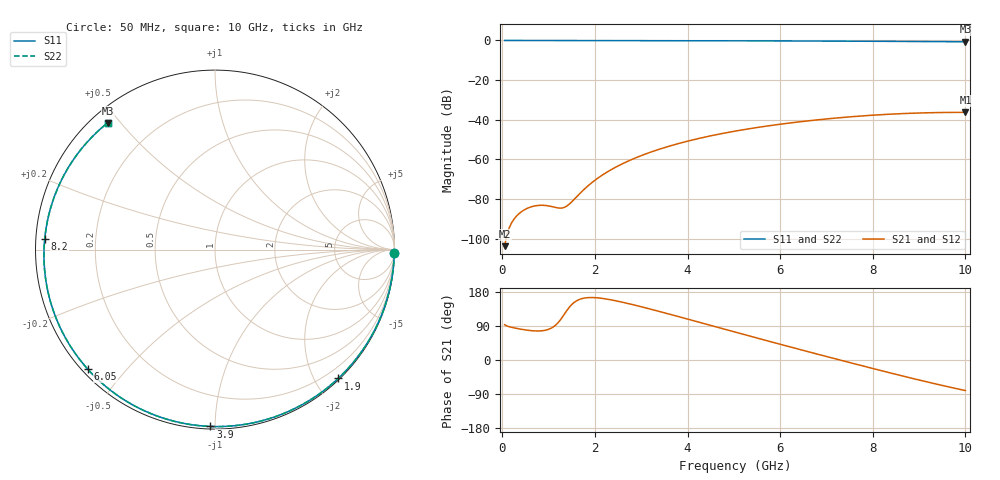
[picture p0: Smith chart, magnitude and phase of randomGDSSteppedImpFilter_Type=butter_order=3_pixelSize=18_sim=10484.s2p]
! freq	dB(S11)	phase(S11)	dB(S12)	phase(S12)
!  dB(S21)	phase(S21)	dB(S22)	phase(S22)
!S-par simulation data
#  GHz  S  DB  R 50
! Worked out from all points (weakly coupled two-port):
!   200 points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, 50 MHz to 10 GHz, reference 50 ohm
!   highest |S21| = -36.28 dB at 10 GHz (marker M1); lowest = -103.8 dB at 50 MHz (marker M2)
!   lowest |S11| = -0.7 dB at 10 GHz (marker M3), VSWR 25.84, Z = 2.35 + j23.1 ohm
!   |S11| at or under -10 dB: nowhere
!   |S22| runs from -0.7 to 0.0 dB; largest |S21 - S12| = 0
!   S11 on the Smith chart (normalised r, x): 50 MHz: 2, -95; 1.9 GHz: 0.02, -2.34; 3.9 GHz: 0.01, -0.97; 6.05 GHz: 0.02, -0.40; 8.2 GHz: 0.03, +0.03; 10 GHz: 0.05, +0.46
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0.05  -0.00 -1.2  -103.82 93.1  -103.82 93.1  -0.00 -1.2
0.8  -0.03 -19.8  -83.21 76.7  -83.21 76.7  -0.03 -19.8
1.55  -0.05 -38.0  -80.24 151.7  -80.24 151.7  -0.05 -38.0
1.75  -0.05 -42.7  -75.50 162.9  -75.50 162.9  -0.05 -42.7
1.9  -0.06 -46.3  -72.40 164.8  -72.40 164.8  -0.06 -46.3
2.2  -0.07 -53.3  -67.33 161.8  -67.33 161.8  -0.07 -53.3
2.55  -0.08 -61.4  -62.74 153.7  -62.74 153.7  -0.08 -61.4
2.95  -0.09 -70.5  -58.59 142.1  -58.59 142.1  -0.09 -70.5
3.4  -0.11 -80.6  -54.83 127.8  -54.83 127.8  -0.11 -80.6
3.9  -0.12 -91.5  -51.44 111.4  -51.44 111.4  -0.12 -91.5
4.45  -0.15 -103.3  -48.39 93.0  -48.39 93.0  -0.15 -103.3
5.05  -0.18 -115.9  -45.66 72.9  -45.66 72.9  -0.18 -116.0
5.55  -0.21 -126.4  -43.76 56.3  -43.76 56.3  -0.21 -126.4
6.05  -0.24 -136.8  -42.12 39.9  -42.12 39.9  -0.24 -136.8
6.7  -0.29 -150.4  -40.33 18.8  -40.33 18.8  -0.29 -150.4
7.45  -0.36 -166.5  -38.66 -5.1  -38.66 -5.1  -0.36 -166.6
8.2  -0.44 176.5  -37.43 -28.6  -37.43 -28.6  -0.44 176.5
8.35  -0.46 173.0  -37.24 -33.3  -37.24 -33.3  -0.46 173.0
8.8  -0.51 162.2  -36.77 -46.9  -36.77 -46.9  -0.51 162.2
9.2  -0.56 152.1  -36.49 -58.6  -36.49 -58.6  -0.56 152.0
9.6  -0.62 141.5  -36.33 -69.9  -36.33 -69.9  -0.62 141.4
10  -0.67 130.3  -36.28 -80.6  -36.28 -80.6  -0.67 130.3
